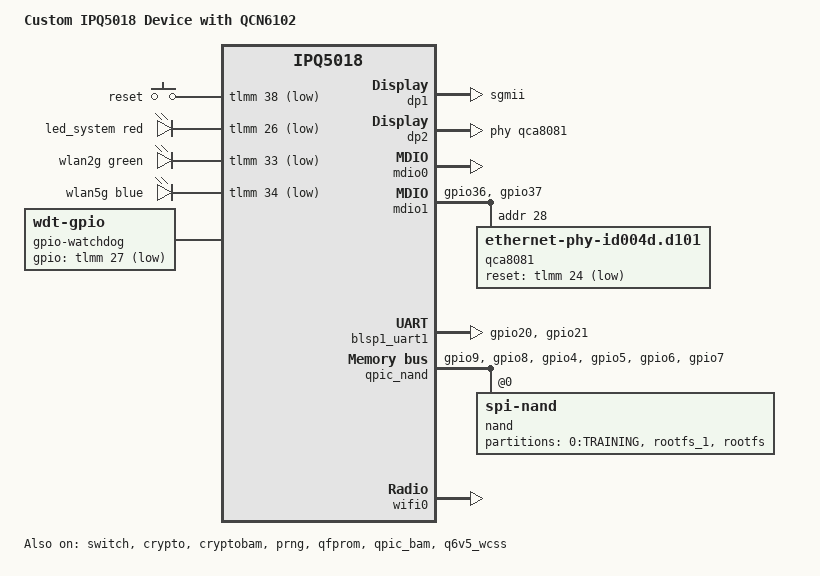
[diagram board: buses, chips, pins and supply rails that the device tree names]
/dts-v1/;

#include "ipq5018.dtsi"
#include "ipq5018-ess.dtsi"

#include <dt-bindings/gpio/gpio.h>
#include <dt-bindings/input/input.h>
#include <dt-bindings/leds/common.h>

/ {
    model = "Custom IPQ5018 Device with QCN6102";
    compatible = "custom,ipq5018-qcn6102", "qcom,ipq5018";

    aliases {
        serial0 = &blsp1_uart1;
        led-boot = &led_system;
        led-failsafe = &led_system;
        led-running = &led_system;
        led-upgrade = &led_system;
    };

    chosen {
        bootargs-append = " ubi.mtd=rootfs root=/dev/ubiblock0_1 rootfstype=ubifs";
        stdout-path = "serial0:115200n8";
    };

    keys {
        compatible = "gpio-keys";
        pinctrl-0 = <&button_pins>;
        pinctrl-names = "default";
        reset {
            label = "reset";
            gpios = <&tlmm 38 GPIO_ACTIVE_LOW>;
            linux,code = <116>; // KEY_POWER
        };
    };

    leds {
        compatible = "gpio-leds";

        led_system: system {
            function = LED_FUNCTION_POWER;
            color = <LED_COLOR_ID_RED>;
            gpios = <&tlmm 26 GPIO_ACTIVE_LOW>;
        };

        wlan2g {
            function = LED_FUNCTION_WLAN_2GHZ;
            color = <LED_COLOR_ID_GREEN>;
            gpios = <&tlmm 33 GPIO_ACTIVE_LOW>;
            linux,default-trigger = "phy0radio";
        };

        wlan5g {
            function = LED_FUNCTION_WLAN_5GHZ;
            color = <LED_COLOR_ID_BLUE>;
            gpios = <&tlmm 34 GPIO_ACTIVE_LOW>;
            linux,default-trigger = "phy1radio";
        };
    };

    reserved-memory {
        q6_mem_regions: q6_mem_regions@4b000000 {
            no-map;
            reg = <0x0 0x4b000000 0x0 0x3000000>;
        };
    };

    gpio-watchdog {
        compatible = "linux,wdt-gpio";
        gpios = <&tlmm 27 GPIO_ACTIVE_LOW>;
        hw_algo = "toggle";
        hw_margin_ms = <5000>;
        always-running;
    };
};

&switch {
    status = "okay";
    switch_mac_mode = <MAC_MODE_SGMII_CHANNEL0>;

    qcom,port_phyinfo {
        port@0 {
            port_id = <1>;
            mdiobus = <&mdio0>;
            phy_address = <7>;
        };
        port@1 {
            port_id = <2>;
            mdiobus = <&mdio1>;
            phy_address = <28>;
            port_mac_sel = "QGMAC_PORT";
        };
    };
};

&dp1 {
    status = "okay";
    label = "lan";
    phy-mode = "sgmii";
};

&dp2 {
    status = "okay";
    label = "wan";
    phy-handle = <&qca8081>;
};

&mdio0 {
    status = "okay";
};

&mdio1 {
    status = "okay";
    pinctrl-0 = <&mdio1_pins>;
    pinctrl-names = "default";
    qca8081: ethernet-phy@28 {
        compatible = "ethernet-phy-id004d.d101";
        reg = <28>;
        reset-deassert-us = <10000>;
        reset-gpios = <&tlmm 24 GPIO_ACTIVE_LOW>;
    };
};

&sleep_clk {
    clock-frequency = <32000>;
};

&xo_board_clk {
    clock-div = <4>;
    clock-mult = <1>;
};

// MAC0 -> GE Phy
&blsp1_uart1 {
    status = "okay";
    pinctrl-0 = <&serial_0_pins>;
    pinctrl-names = "default";
};

&crypto {
    status = "okay";
};

&cryptobam {
    status = "okay";
};

&prng {
    status = "okay";
};

&qfprom {
    status = "okay";
};

&qpic_bam {
    status = "okay";
};

&qpic_nand {
    pinctrl-0 = <&qpic_pins>;
    pinctrl-names = "default";
    status = "okay";

    partitions {
        status = "disabled";
    };

    nand@0 {
        compatible = "spi-nand";
        reg = <0>;
        #address-cells = <1>;
        #size-cells = <1>;

        nand-ecc-engine = <&qpic_nand>;
        nand-bus-width = <8>;

        partitions {
            compatible = "fixed-partitions";
            #address-cells = <1>;
            #size-cells = <1>;

            partition@0 {
                label = "0:TRAINING";
                reg = <0x00 0x80000>;
            };

            partition@80000 {
                label = "rootfs_1";
                reg = <0x80000 0x3e00000>;
            };

            partition@3e80000 {
                label = "rootfs";
                reg = <0x3e80000 0x3e00000>;
            };
        };
    };
};

// The most important part: support for QCN6102 over PCIe
&q6v5_wcss {
    status = "okay";
    memory-region = <&q6_mem_regions>;
    firmware-name = "ath11k/IPQ5018/hw1.0/q6_fw.mdt",
            "ath11k/IPQ5018/hw1.0/m3_fw.mdt",
            "ath11k/QCN6102/hw1.0/m3_fw.mdt";
};

&wifi0 {
    status = "okay";
    qcom,rproc = <&q6v5_wcss>;
    qcom,ath11k-calibration;
    qcom,ath11k-fw-memory-mode = <1>;
    qcom,bdf-addr = <0x4c400000>;
};

&tlmm {
    button_pins: button-state {
        pins = "gpio38";
        function = "gpio";
        drive-strength = <8>;
        bias-pull-up;
    };

    mdio1_pins: mdio-state {
        mdc-pins {
            pins = "gpio36";
            function = "mdc";
            drive-strength = <8>;
            bias-pull-up;
        };

        mdio-pins {
            pins = "gpio37";
            function = "mdio";
            drive-strength = <8>;
            bias-pull-up;
        };
    };

    qpic_pins: qpic-state {
        clock-pins {
            pins = "gpio9";
            function = "qspi_clk";
            drive-strength = <8>;
            bias-disable;
        };

        cs-pins {
            pins = "gpio8";
            function = "qspi_cs";
            drive-strength = <8>;
            bias-disable;
        };

        data-pins {
            pins = "gpio4", "gpio5", "gpio6", "gpio7";
            function = "qspi_data";
            drive-strength = <8>;
            bias-disable;
        };
    };

    serial_0_pins: uart0-state {
        pins = "gpio20", "gpio21";
        function = "blsp0_uart0";
        drive-strength = <8>;
        bias-disable;
    };
};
